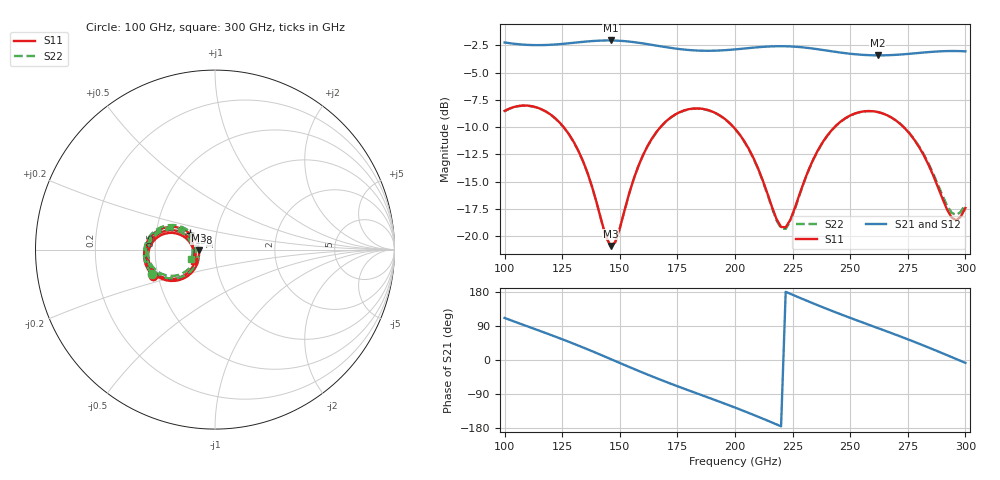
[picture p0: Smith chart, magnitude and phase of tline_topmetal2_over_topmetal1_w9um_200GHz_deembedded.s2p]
! Created with skrf 2.0.1 (http://scikit-rf.org).
# GHz S DB R 50.0
!freq dBS11 angS11 dBS21 angS21 dBS12 angS12 dBS22 angS22
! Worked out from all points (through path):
!   101 points, 100 GHz to 300 GHz, reference 50 ohm
!   highest |S21| = -2.06 dB at 146 GHz (marker M1); lowest = -3.4 dB at 262 GHz (marker M2)
!   group delay of S21, straight-line fit = 6.66 ps
!   lowest |S11| = -20.9 dB at 146 GHz (marker M3), VSWR 1.20, Z = 41.7 - j0.267 ohm
!   |S11| at or under -10 dB: 125.6 GHz to 167.6 GHz (42 GHz wide, 28.6 % of centre); 199.4 GHz to 243.2 GHz (43.81 GHz wide, 19.8 % of centre); 273.2 GHz to end of sweep
!   |S22| runs from -20.9 to -8.0 dB; largest |S21 - S12| = 8.4e-14
!   S11 on the Smith chart (normalised r, x): 100 GHz: 0.47, -0.16; 138 GHz: 0.74, +0.14; 300 GHz: 0.78, -0.10
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100  -8.52 -157.1  -2.24 111.0  -2.24 111.0  -8.53 -159.0
108  -8.02 -171.7  -2.44 93.0  -2.44 93.0  -8.03 -173.8
118  -8.57 170.7  -2.47 70.8  -2.47 70.8  -8.59 168.4
134  -13.10 148.0  -2.19 33.2  -2.19 33.2  -13.11 145.4
138  -15.48 147.5  -2.11 23.2  -2.11 23.2  -15.50 144.8
146  -20.88 -178.0  -2.06 2.6  -2.06 2.6  -20.90 179.2
148  -20.54 -161.0  -2.07 -2.6  -2.07 -2.6  -20.56 -163.9
156  -14.76 -135.4  -2.21 -23.3  -2.21 -23.3  -14.78 -138.3
168  -9.90 -147.6  -2.60 -52.9  -2.60 -52.9  -9.92 -150.8
184  -8.28 -173.7  -2.99 -89.3  -2.99 -89.3  -8.30 -177.2
200  -10.13 161.5  -2.88 -125.5  -2.88 -125.5  -10.16 157.6
212  -14.85 153.5  -2.65 -154.6  -2.65 -154.6  -14.91 149.3
220  -19.14 179.8  -2.58 -175.0  -2.58 -175.0  -19.28 175.7
224  -18.49 -156.0  -2.60 174.7  -2.60 174.7  -18.61 -159.7
234  -12.94 -140.0  -2.81 149.3  -2.81 149.3  -12.98 -143.8
248  -9.17 -156.5  -3.23 115.8  -3.23 115.8  -9.18 -160.6
262  -8.61 -178.0  -3.42 84.3  -3.42 84.3  -8.62 177.7
268  -9.13 173.1  -3.39 70.7  -3.39 70.7  -9.12 168.7
278  -11.21 160.3  -3.24 47.5  -3.24 47.5  -11.16 156.1
286  -14.40 157.3  -3.09 28.0  -3.09 28.0  -14.24 153.3
294  -18.27 178.3  -3.02 7.8  -3.02 7.8  -17.83 173.3
300  -17.40 -152.0  -3.06 -7.6  -3.06 -7.6  -17.04 -159.3
